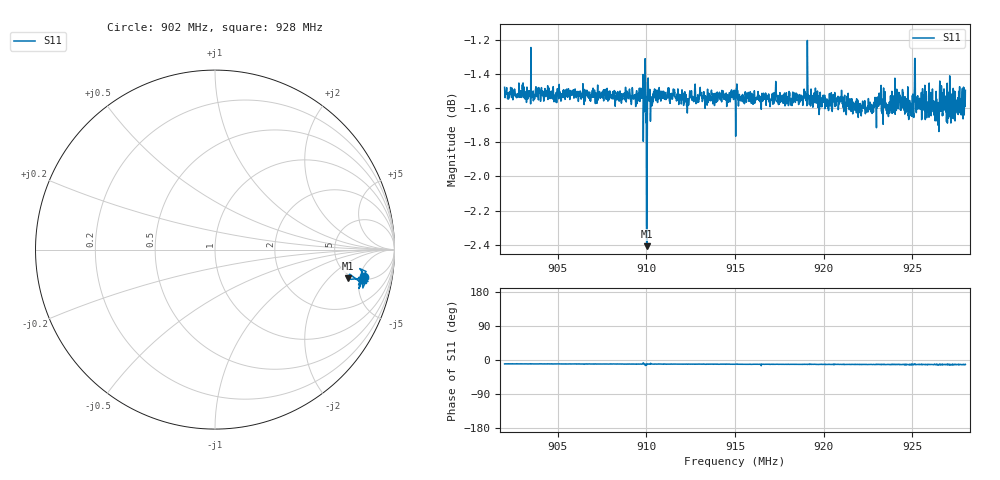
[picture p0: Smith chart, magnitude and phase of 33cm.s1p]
! Calibrated averaged scanner-service zoom
# Hz S RI R 50
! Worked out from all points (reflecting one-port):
!   2001 points, 902 MHz to 928 MHz, reference 50 ohm
!   lowest |S11| = -2.4 dB at 910.02 MHz (marker M1), VSWR 7.26, Z = 228 - j173 ohm
!   phase of S11 starts at -10 deg and turns -1 deg over the sweep
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9.02e8  0.8299 -0.1503
9.0525e8  0.8255 -0.1489
9.085e8  0.8213 -0.1558
9.09631e8  0.8205 -0.157
9.09761e8  0.8264 -0.1592
9.09865e8  0.8256 -0.1593
9.09917e8  0.8256 -0.1631
9.10021e8  0.7406 -0.1608
9.10073e8  0.8322 -0.1535
9.10138e8  0.823 -0.1534
9.1019e8  0.8265 -0.1625
9.1175e8  0.8242 -0.1613
9.15e8  0.8262 -0.1606
9.1825e8  0.8234 -0.1652
9.19017e8  0.823 -0.1656
9.1929e8  0.8271 -0.16
9.215e8  0.8175 -0.1692
9.22683e8  0.8125 -0.1673
9.23125e8  0.8181 -0.1664
9.23671e8  0.8159 -0.1693
9.24152e8  0.8172 -0.167
9.2475e8  0.8254 -0.1751
9.25244e8  0.8163 -0.1689
9.25309e8  0.8209 -0.1716
9.26401e8  0.8169 -0.1703
9.26674e8  0.8243 -0.1644
9.27818e8  0.8222 -0.1737
9.28e8  0.8245 -0.1693
